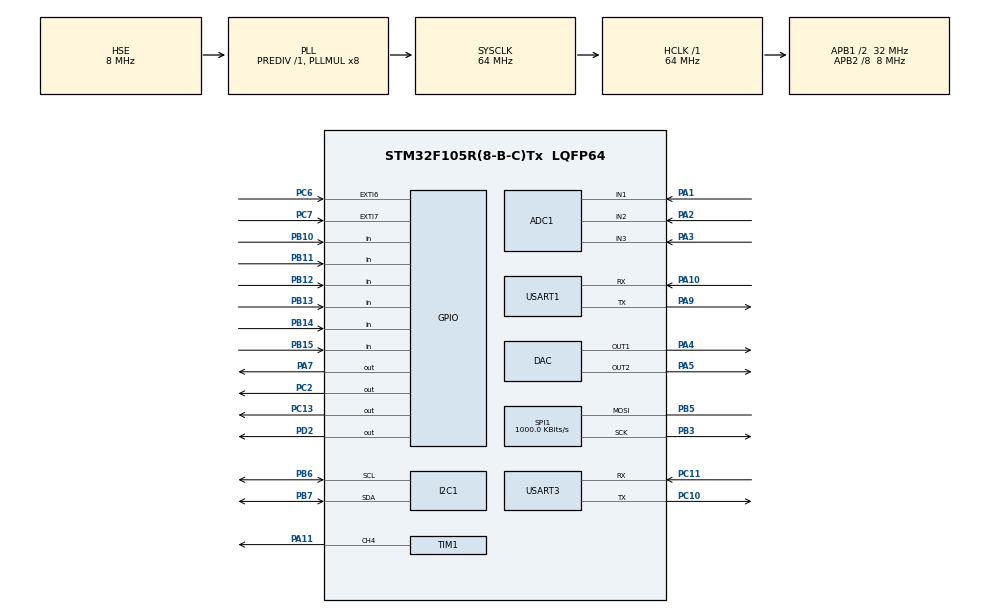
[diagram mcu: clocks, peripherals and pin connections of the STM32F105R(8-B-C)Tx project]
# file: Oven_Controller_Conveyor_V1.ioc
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ADC1.Channel-0\#ChannelRegularConversion=ADC_CHANNEL_1
ADC1.Channel-1\#ChannelRegularConversion=ADC_CHANNEL_2
ADC1.Channel-2\#ChannelRegularConversion=ADC_CHANNEL_3
ADC1.Channel-3\#ChannelRegularConversion=ADC_CHANNEL_VREFINT
ADC1.ContinuousConvMode=ENABLE
ADC1.EnableInjectedConversion=DISABLE
ADC1.InjNumberOfConversion=3
ADC1.NbrOfConversion=4
ADC1.NbrOfConversionFlag=1
ADC1.Rank-0\#ChannelRegularConversion=1
ADC1.Rank-1\#ChannelRegularConversion=2
ADC1.Rank-2\#ChannelRegularConversion=3
ADC1.Rank-3\#ChannelRegularConversion=4
ADC1.SamplingTime-0\#ChannelRegularConversion=ADC_SAMPLETIME_239CYCLES_5
ADC1.SamplingTime-1\#ChannelRegularConversion=ADC_SAMPLETIME_239CYCLES_5
ADC1.SamplingTime-2\#ChannelRegularConversion=ADC_SAMPLETIME_239CYCLES_5
ADC1.SamplingTime-3\#ChannelRegularConversion=ADC_SAMPLETIME_239CYCLES_5
ADC1.master=1
Dma.ADC1.0.Direction=DMA_PERIPH_TO_MEMORY
Dma.ADC1.0.Instance=DMA1_Channel1
Dma.ADC1.0.MemDataAlignment=DMA_MDATAALIGN_WORD
Dma.ADC1.0.MemInc=DMA_MINC_ENABLE
Dma.ADC1.0.Mode=DMA_CIRCULAR
Dma.ADC1.0.PeriphDataAlignment=DMA_PDATAALIGN_WORD
Dma.ADC1.0.PeriphInc=DMA_PINC_DISABLE
Dma.ADC1.0.Priority=DMA_PRIORITY_LOW
Dma.Request0=ADC1
Dma.Request1=USART1_RX
Dma.Request2=USART3_RX
Dma.USART1_RX.1.Direction=DMA_PERIPH_TO_MEMORY
Dma.USART1_RX.1.Instance=DMA1_Channel5
Dma.USART1_RX.1.MemDataAlignment=DMA_MDATAALIGN_BYTE
Dma.USART1_RX.1.MemInc=DMA_MINC_ENABLE
Dma.USART1_RX.1.Mode=DMA_NORMAL
Dma.USART1_RX.1.PeriphDataAlignment=DMA_PDATAALIGN_BYTE
Dma.USART1_RX.1.PeriphInc=DMA_PINC_DISABLE
Dma.USART1_RX.1.Priority=DMA_PRIORITY_LOW
Dma.USART3_RX.2.Direction=DMA_PERIPH_TO_MEMORY
Dma.USART3_RX.2.Instance=DMA1_Channel3
Dma.USART3_RX.2.MemDataAlignment=DMA_MDATAALIGN_BYTE
Dma.USART3_RX.2.MemInc=DMA_MINC_ENABLE
Dma.USART3_RX.2.Mode=DMA_NORMAL
Dma.USART3_RX.2.PeriphDataAlignment=DMA_PDATAALIGN_BYTE
Dma.USART3_RX.2.PeriphInc=DMA_PINC_DISABLE
Dma.USART3_RX.2.Priority=DMA_PRIORITY_LOW
Mcu.Family=STM32F1
Mcu.Name=STM32F105R(8-B-C)Tx
Mcu.Package=LQFP64
NVIC.DMA1_Channel1_IRQn=true\:0\:0\:false\:false\:true\:false\:true\:true
NVIC.DMA1_Channel3_IRQn=true\:0\:0\:false\:false\:true\:false\:true\:true
NVIC.DMA1_Channel5_IRQn=true\:0\:0\:false\:false\:true\:false\:true\:true
NVIC.EXTI9_5_IRQn=true\:0\:0\:false\:false\:true\:true\:true\:true
NVIC.PriorityGroup=NVIC_PRIORITYGROUP_4
NVIC.RTC_IRQn=true\:0\:0\:false\:false\:true\:true\:true\:true
NVIC.USART1_IRQn=true\:0\:0\:false\:false\:true\:true\:true\:true
NVIC.USART3_IRQn=true\:0\:0\:false\:false\:true\:true\:true\:true
PA1.Signal=ADCx_IN1
PA10.Mode=Asynchronous
PA10.Signal=USART1_RX
PA11.Signal=S_TIM1_CH4
PA13.Mode=Serial_Wire
PA13.Signal=SYS_JTMS-SWDIO
PA14.Mode=Serial_Wire
PA14.Signal=SYS_JTCK-SWCLK
PA2.Signal=ADCx_IN2
PA3.Signal=ADCx_IN3
PA4.Signal=COMP_DAC1_group
PA5.Signal=COMP_DAC2_group
PA7.Signal=GPIO_Output
PA9.Mode=Asynchronous
PA9.Signal=USART1_TX
PB10.GPIO_PuPd=GPIO_NOPULL
PB10.Signal=GPIO_Input
PB11.GPIO_PuPd=GPIO_NOPULL
PB11.Signal=GPIO_Input
PB12.GPIO_PuPd=GPIO_NOPULL
PB12.Signal=GPIO_Input
PB13.GPIO_PuPd=GPIO_NOPULL
PB13.Signal=GPIO_Input
PB14.GPIO_PuPd=GPIO_NOPULL
PB14.Signal=GPIO_Input
PB15.GPIO_PuPd=GPIO_NOPULL
PB15.Signal=GPIO_Input
PB3.GPIO_Speed=GPIO_SPEED_FREQ_MEDIUM
PB3.Mode=Simplex_Bidirectional_Master
PB3.Signal=SPI1_SCK
PB5.GPIO_Speed=GPIO_SPEED_FREQ_MEDIUM
PB5.Mode=Simplex_Bidirectional_Master
PB5.Signal=SPI1_MOSI
PB6.Mode=I2C
PB6.Signal=I2C1_SCL
PB7.Mode=I2C
PB7.Signal=I2C1_SDA
PC10.Mode=Asynchronous
PC10.Signal=USART3_TX
PC11.Mode=Asynchronous
PC11.Signal=USART3_RX
PC13-TAMPER-RTC.Signal=GPIO_Output
PC14-OSC32_IN.Mode=LSE-External-Oscillator
PC14-OSC32_IN.Signal=RCC_OSC32_IN
PC15-OSC32_OUT.Mode=LSE-External-Oscillator
PC15-OSC32_OUT.Signal=RCC_OSC32_OUT
PC2.PinState=GPIO_PIN_SET
PC2.Signal=GPIO_Output
PC6.Signal=GPXTI6
PC7.Signal=GPXTI7
PD0-OSC_IN.Mode=HSE-External-Oscillator
PD0-OSC_IN.Signal=RCC_OSC_IN
PD1-OSC_OUT.Mode=HSE-External-Oscillator
PD1-OSC_OUT.Signal=RCC_OSC_OUT
PD2.GPIO_PuPd=GPIO_PULLDOWN
PD2.Signal=GPIO_Output
ProjectManager.HeapSize=0x200
ProjectManager.StackSize=0x400
ProjectManager.TargetToolchain=STM32CubeIDE
RCC.ADCPresc=RCC_ADCPCLK2_DIV8
RCC.AHBFreq_Value=64000000
RCC.APB1CLKDivider=RCC_HCLK_DIV2
RCC.APB1Freq_Value=32000000
RCC.APB1TimFreq_Value=64000000
RCC.APB2CLKDivider=RCC_HCLK_DIV8
RCC.APB2Freq_Value=8000000
RCC.APB2TimFreq_Value=16000000
RCC.HCLKFreq_Value=64000000
RCC.PLLMUL=RCC_PLL_MUL8
RCC.PLLSourceVirtual=RCC_PLLSOURCE_HSE
RCC.RTCClockSelection=RCC_RTCCLKSOURCE_LSE
RCC.SYSCLKFreq_VALUE=64000000
RCC.SYSCLKSource=RCC_SYSCLKSOURCE_PLLCLK
RCC.USBFreq_Value=42666666.666666664
SH.ADCx_IN1.0=ADC1_IN1,IN1
SH.ADCx_IN2.0=ADC1_IN2,IN2
SH.ADCx_IN3.0=ADC1_IN3,IN3
SH.COMP_DAC1_group.0=DAC_OUT1,DAC_OUT1
SH.COMP_DAC2_group.0=DAC_OUT2,DAC_OUT2
SH.S_TIM1_CH4.0=TIM1_CH4,PWM Generation4 CH4
SPI1.BaudRatePrescaler=SPI_BAUDRATEPRESCALER_8
SPI1.CLKPhase=SPI_PHASE_1EDGE
SPI1.CLKPolarity=SPI_POLARITY_LOW
SPI1.CalculateBaudRate=1000.0 KBits/s
SPI1.Direction=SPI_DIRECTION_1LINE
SPI1.Mode=SPI_MODE_MASTER
SPI1.VirtualType=VM_MASTER
TIM1.AutoReloadPreload=TIM_AUTORELOAD_PRELOAD_ENABLE
TIM1.Channel-PWM\ Generation4\ CH4=TIM_CHANNEL_4
TIM1.Period=100-1
TIM1.Prescaler=8-1
TIM1.Pulse-PWM\ Generation4\ CH4=50
USART1.VirtualMode=VM_ASYNC
USART3.VirtualMode=VM_ASYNC
VP_ADC1_Vref_Input.Mode=IN-Vrefint
VP_RTC_No_RTC_Output.Mode=RTC_OUT_NO
VP_RTC_VS_RTC_Activate.Mode=RTC_Enabled
VP_RTC_VS_RTC_Calendar.Mode=RTC_Calendar
board=custom

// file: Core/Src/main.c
/* USER CODE BEGIN Header */
/**
  ******************************************************************************
  * @file           : main.c
  * @brief          : Main program body
  ******************************************************************************
  * @attention
  *
  * Copyright (c) 2025 STMicroelectronics.
  * All rights reserved.
  *
  * This software is licensed under terms that can be found in the LICENSE file
  * in the root directory of this software component.
  * If no LICENSE file comes with this software, it is provided AS-IS.
  *
  ******************************************************************************
  */
/* USER CODE END Header */
#include "main.h"
#include "adc.h"
#include "dac.h"
#include "dma.h"
#include "i2c.h"
#include "rtc.h"
#include "spi.h"
#include "tim.h"
#include "usart.h"
#include "gpio.h"

/* USER CODE BEGIN Includes */
#include "math.h"
#include "SEGGER_RTT.h"
#include "string.h"
#include "stdio.h"
#include "DWIN_Process.h"
#include "Temperature_Process.h"
#include "InOut_Process.h"
#include "USART_Process.h"
#include "EEPROM_Process.h"
//#include "sht40.h"
//#include "hdc1080.h"
#include "TMP112.h"
#include "Bluetooth_Process.h"
#include "Flash_Process.h"

/* USER CODE END Includes */

/* USER CODE BEGIN PD */
extern DMA_HandleTypeDef hdma_usart3_rx;
extern DMA_HandleTypeDef hdma_usart1_rx;
extern I2C_HandleTypeDef hi2c1;
/* USER CODE END PD */

/* USER CODE BEGIN PV */
extern uint16_t DWIN_version;
extern usartInfo DWIN;
extern usartInfo ESP32;
extern uint32_t outputData;
extern EEPROM_initResponse eepromStatus;
extern TMP112 tmpSensor;
//extern HDC1080 hdcSensor;
/* USER CODE END PV */

void SystemClock_Config(void);

/* USER CODE BEGIN 0 */
extern uint16_t registerTable[REGISTER_TABLE_SIZE];

uint32_t BytesToUint32(const uint8_t *buf)
{
    return  ((uint32_t)buf[0])        |
           (((uint32_t)buf[1]) << 8)  |
           (((uint32_t)buf[2]) << 16) |
           (((uint32_t)buf[3]) << 24);
}

uint32_t safeProgramWait_tick = 0;
uint32_t safeProgramWait_flag = 0;

void safeProgram_Declaration(void)
{
	if(safeProgramWait_flag == 0)
	{
		if((safeProgramWait_tick - HAL_GetTick()) > SAFE_PROGRAM_DECL_WAIT)
		{
			safeProgramWait_flag = 1;

			uint8_t flash_info_read[4] = {0};

			if(Flash_Read(FLASH_INFO_ADDR, flash_info_read, sizeof(flash_info_read)) != HAL_OK)
			{
				SEGGER_RTT_printf(0,"safeProgram_Declaration() -> Flash_Read Error \r\n");
				return;
			}

			flash_info_read[0] = 0;	// Maximum hatalı program sayacı sıfırlanıyor

			if(Flash_Erase_Sector(FLASH_INFO_SECTOR) != HAL_OK)
				return;

			uint32_t flash_info_data_u32 = BytesToUint32(flash_info_read);
			Flash_Write(FLASH_INFO_ADDR, &flash_info_data_u32, sizeof(flash_info_data_u32)/4);

		}
	}
}

/* USER CODE END 0 */

int main(void)
{

  /* MCU Configuration--------------------------------------------------------*/

  /* Reset of all peripherals, Initializes the Flash interface and the Systick. */
  HAL_Init();

  /* Configure the system clock */
  SystemClock_Config();

  /* Initialize all configured peripherals */
  MX_GPIO_Init();
  MX_DMA_Init();
  MX_ADC1_Init();
  MX_SPI1_Init();
  MX_I2C1_Init();
  MX_USART1_UART_Init();
  MX_USART3_UART_Init();
  MX_RTC_Init();
  MX_TIM1_Init();
  MX_DAC_Init();
  /* USER CODE BEGIN 2 */

  ShiftRegister_SendData(0);
  HAL_Delay(0);
  SEGGER_RTT_ConfigUpBuffer(0,NULL, NULL, 0, SEGGER_RTT_MODE_NO_BLOCK_SKIP);
  HAL_Delay(0);
  SEGGER_RTT_printf(0,"-------- SYSTEM START -------- \r\n");

  PWM_SetFreqAndDuty(0, 50);

  HAL_TIM_PWM_Start(&htim1, TIM_CHANNEL_4);

  HAL_GPIO_WritePin(OE_PORT, OE_PIN, 1);

	  for(int i=0;i<6;i++)
	  {
		  HAL_Delay(30);
		  setOut(BUZZER, HIGH);
		  HAL_Delay(30);
		  setOut(BUZZER, LOW);

		  HAL_GPIO_TogglePin(RUN_LED);
	  }

	  if(adc_Init() != HAL_OK)
	  {
		  SEGGER_RTT_printf(0,"ADC Error \r\n");
		  Error_Handler();
	  }

	  if(HAL_I2C_IsDeviceReady(&hi2c1, EEPROM_BASE_ADDR << 1, 2, 100) != HAL_OK)
	  {
		  eepromStatus = EE_INIT_ERROR;
		  SEGGER_RTT_printf(0,"EEPROM Error \r\n");
	  }

	  if(DWIN_SetUsartChannel(&huart3, USART3, &hdma_usart3_rx) != HAL_OK)
	  {
		  SEGGER_RTT_printf(0,"DWIN Set Usart Channel Error ! \r\n");
		  Error_Handler();
	  }

	  if(ESP32_SetUsartChannel(&huart1, USART1, &hdma_usart1_rx) != HAL_OK)
	  {
		  SEGGER_RTT_printf(0,"ESP32 Set Usart Channel Error ! \r\n");
		  Error_Handler();
	  }

	  if(TMP112_Init(&tmpSensor, &hi2c1) == HAL_OK)
	  {
		  // 12-bit çözünürlük ayarla
		  TMP112_SetResolution(&tmpSensor, TMP112_RESOLUTION_12_BIT);

		  // Shutdown modunu etkinleştir
		  //TMP112_EnableShutdownMode(&mySensor, 1);

		  // Tek seferlik ölçüm başlat
		  //TMP112_TriggerOneShot(&mySensor);
	  }

	  else
	  {
		  SEGGER_RTT_printf(0,"TMP112 Init ERROR ! \r\n");
	  }

	  memset(registerTable,0,sizeof(registerTable));

	  HAL_Delay(2000);

	  if(EEPROM_init(&hi2c1) != EE_INIT_OK)
		  SEGGER_RTT_printf(0,"EEPROM Init Error ! \r\n");

	  HAL_RTCEx_SetSecond_IT(&hrtc);

	  setOut(Q_CONVEYOR_EN, 1);

	  HAL_DAC_Start(&hdac, DAC_CHANNEL_1);
	  HAL_DAC_Start(&hdac, DAC_CHANNEL_2);

	  HAL_DAC_SetValue(&hdac,
	                   DAC_CHANNEL_1,
	                   DAC_ALIGN_12B_R,
	                   0);
	  HAL_DAC_SetValue(&hdac,
	                   DAC_CHANNEL_2,
	                   DAC_ALIGN_12B_R,
	                   0);

  /* USER CODE END 2 */

  /* Infinite loop */
  while (1)
  {

    /* USER CODE BEGIN 3 */
	  DWIN_run();
	  Bluetooth_run();
	  safeProgram_Declaration();
	  //Test

  }
  /* USER CODE END 3 */
}

void SystemClock_Config(void)
{
  RCC_OscInitTypeDef RCC_OscInitStruct = {0};
  RCC_ClkInitTypeDef RCC_ClkInitStruct = {0};
  RCC_PeriphCLKInitTypeDef PeriphClkInit = {0};

  /** Initializes the RCC Oscillators according to the specified parameters
  * in the RCC_OscInitTypeDef structure.
  */
  RCC_OscInitStruct.OscillatorType = RCC_OSCILLATORTYPE_HSE|RCC_OSCILLATORTYPE_LSE;
  RCC_OscInitStruct.HSEState = RCC_HSE_ON;
  RCC_OscInitStruct.HSEPredivValue = RCC_HSE_PREDIV_DIV1;
  RCC_OscInitStruct.LSEState = RCC_LSE_ON;
  RCC_OscInitStruct.HSIState = RCC_HSI_ON;
  RCC_OscInitStruct.Prediv1Source = RCC_PREDIV1_SOURCE_HSE;
  RCC_OscInitStruct.PLL.PLLState = RCC_PLL_ON;
  RCC_OscInitStruct.PLL.PLLSource = RCC_PLLSOURCE_HSE;
  RCC_OscInitStruct.PLL.PLLMUL = RCC_PLL_MUL8;
  RCC_OscInitStruct.PLL2.PLL2State = RCC_PLL_NONE;
  if (HAL_RCC_OscConfig(&RCC_OscInitStruct) != HAL_OK)
  {
    Error_Handler();
  }

  /** Initializes the CPU, AHB and APB buses clocks
  */
  RCC_ClkInitStruct.ClockType = RCC_CLOCKTYPE_HCLK|RCC_CLOCKTYPE_SYSCLK
                              |RCC_CLOCKTYPE_PCLK1|RCC_CLOCKTYPE_PCLK2;
  RCC_ClkInitStruct.SYSCLKSource = RCC_SYSCLKSOURCE_PLLCLK;
  RCC_ClkInitStruct.AHBCLKDivider = RCC_SYSCLK_DIV1;
  RCC_ClkInitStruct.APB1CLKDivider = RCC_HCLK_DIV2;
  RCC_ClkInitStruct.APB2CLKDivider = RCC_HCLK_DIV8;

  if (HAL_RCC_ClockConfig(&RCC_ClkInitStruct, FLASH_LATENCY_2) != HAL_OK)
  {
    Error_Handler();
  }
  PeriphClkInit.PeriphClockSelection = RCC_PERIPHCLK_RTC|RCC_PERIPHCLK_ADC;
  PeriphClkInit.RTCClockSelection = RCC_RTCCLKSOURCE_LSE;
  PeriphClkInit.AdcClockSelection = RCC_ADCPCLK2_DIV8;
  if (HAL_RCCEx_PeriphCLKConfig(&PeriphClkInit) != HAL_OK)
  {
    Error_Handler();
  }

  /** Configure the Systick interrupt time
  */
  __HAL_RCC_PLLI2S_ENABLE();
}

void Error_Handler(void)
{
  /* USER CODE BEGIN Error_Handler_Debug */
  /* User can add his own implementation to report the HAL error return state */
	SEGGER_RTT_printf(0,"Error HANDLER !!! \r\n");
	HAL_Delay(0);
  __disable_irq();
  while (1)
  {
  }
  /* USER CODE END Error_Handler_Debug */
}
